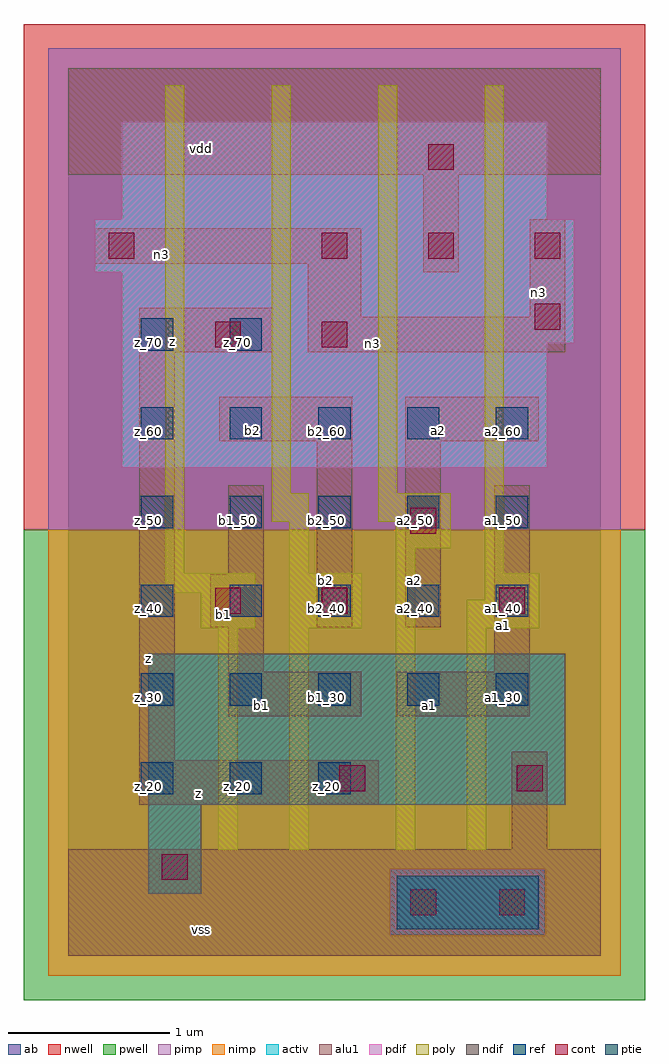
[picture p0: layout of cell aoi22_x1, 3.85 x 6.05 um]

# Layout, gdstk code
import gdstk
lib = gdstk.Library(unit=1e-6, precision=2.5e-09)
def R(c, l, rs):  # rectangles x0, y0, x1, y1
    for r in rs: c.add(gdstk.rectangle(r[:2], r[2:], *l))
def A(c, l, x, y, w, h, nx, ny, dx, dy):  # array of equal rectangles
    R(c, l, [(x+i*dx, y+j*dy, x+i*dx+w, y+j*dy+h) for i in range(nx) for j in range(ny)])
ndif = (3, 0)
pdif = (4, 0)
ptie = (6, 0)
ref = (24, 0)
cont = (25, 0)
pwell = (41, 0)
nwell = (42, 0)
activ = (43, 0)
pimp = (44, 0)
nimp = (45, 0)
poly = (46, 0)
alu1 = (49, 0)
ab = (63, 0)

aoi22_x1 = lib.new_cell('aoi22_x1')
R(aoi22_x1, ndif, [(0.495,0.385,0.825,0.935), (0.495,0.935,3.08,1.87)])
R(aoi22_x1, pdif, [(0.33,3.025,2.97,3.795), (0.33,3.795,3.135,4.235), (0.165,4.235,3.135,4.565), (0.33,4.565,2.97,5.17)])
R(aoi22_x1, ptie, [(2.035,0.165,2.915,0.495)])
A(aoi22_x1, ref, 0.45, 1, 0.2, 0.2, 3, 1, 0.55, 0)
A(aoi22_x1, ref, 0.45, 1.55, 0.2, 0.2, 5, 4, 0.55, 0.55)
R(aoi22_x1, ref, [(0.45,3.75,0.65,3.95), (1,3.75,1.2,3.95)])
A(aoi22_x1, cont, 1.57, 4.32, 0.16, 0.16, 3, 1, 0.66, 0)
R(aoi22_x1, cont, [(2.12,0.25,2.28,0.41), (2.67,0.25,2.83,0.41), (0.58,0.47,0.74,0.63), (1.68,1.02,1.84,1.18), (2.78,1.02,2.94,1.18), (0.91,2.12,1.07,2.28), (1.57,2.12,1.73,2.28), (2.67,2.12,2.83,2.28), (2.12,2.615,2.28,2.775), (0.91,3.77,1.07,3.93), (1.57,3.77,1.73,3.93), (2.89,3.88,3.05,4.04), (0.25,4.32,0.41,4.48), (2.23,4.87,2.39,5.03)])
R(aoi22_x1, pwell, [(-0.275,-0.275,3.575,2.64)])
R(aoi22_x1, nwell, [(-0.275,2.64,3.575,5.775)])
R(aoi22_x1, activ, [(2.035,0.165,2.915,0.495), (0.495,0.385,0.825,0.935), (0.495,0.935,3.08,1.87), (0.33,3.025,2.97,3.795), (0.33,3.795,3.135,4.235), (0.165,4.235,3.135,4.565), (0.33,4.565,2.97,5.17)])
R(aoi22_x1, pimp, [(1.995,0.125,2.955,0.535), (-0.125,2.64,3.425,5.625)])
R(aoi22_x1, nimp, [(-0.125,-0.125,3.425,0.125), (-0.125,0.125,1.995,0.535), (2.955,0.125,3.425,0.535), (-0.125,0.535,3.425,2.64)])
R(aoi22_x1, poly, [(0.93,0.655,1.05,2.03), (1.37,0.655,1.49,2.03), (2.03,0.655,2.15,2.525), (2.47,0.655,2.59,2.03), (0.82,2.03,1.16,2.25), (1.37,2.03,1.82,2.37), (2.47,2.03,2.92,2.205), (2.58,2.205,2.92,2.37), (0.6,2.25,1.16,2.37), (0.6,2.37,0.72,5.395), (1.37,2.37,1.49,2.69), (2.58,2.37,2.7,5.395), (2.03,2.525,2.37,2.69), (1.26,2.69,1.49,2.865), (1.92,2.69,2.37,2.865), (1.26,2.865,1.38,5.395), (1.92,2.865,2.04,5.395)])
R(aoi22_x1, alu1, [(0,0,3.3,0.66), (2.75,0.66,2.97,1.265), (0.44,0.935,1.925,1.21), (0.44,1.21,0.66,3.74), (0.99,1.485,1.815,1.76), (2.035,1.485,2.86,1.76), (0.99,1.76,1.21,2.035), (2.64,1.76,2.86,2.915), (0.88,2.035,1.21,2.365), (1.54,2.035,1.76,3.19), (2.09,2.035,2.31,3.19), (0.99,2.365,1.21,2.915), (0.935,3.19,1.76,3.465), (2.09,3.19,2.915,3.465), (0.44,3.74,1.265,4.015), (1.485,3.74,3.08,3.96), (1.485,3.96,1.815,4.29), (2.86,3.96,3.08,4.565), (2.2,4.235,2.42,4.84), (0.165,4.29,1.815,4.51), (0,4.84,3.3,5.5)])
R(aoi22_x1, ab, [(0,0,3.3,5.5)])
aoi22_x1.add(gdstk.Label('vss', (0.825,0.165), layer=49, texttype=0))
aoi22_x1.add(gdstk.Label('z', (0.81,1.0025), layer=49, texttype=0))
aoi22_x1.add(gdstk.Label('a1', (2.24,1.5525), layer=49, texttype=0))
aoi22_x1.add(gdstk.Label('b1', (1.195,1.5525), layer=49, texttype=0))
aoi22_x1.add(gdstk.Label('a1', (2.695,2.0475), layer=49, texttype=0))
aoi22_x1.add(gdstk.Label('a2', (2.145,2.3225), layer=49, texttype=0))
aoi22_x1.add(gdstk.Label('a2', (2.295,3.2575), layer=49, texttype=0))
aoi22_x1.add(gdstk.Label('b2', (1.595,2.3225), layer=49, texttype=0))
aoi22_x1.add(gdstk.Label('b1', (0.9625,2.1175), layer=49, texttype=0))
aoi22_x1.add(gdstk.Label('b2', (1.14,3.2575), layer=49, texttype=0))
aoi22_x1.add(gdstk.Label('z', (0.495,1.8425), layer=49, texttype=0))
aoi22_x1.add(gdstk.Label('n3', (1.8825,3.795), layer=49, texttype=0))
aoi22_x1.add(gdstk.Label('n3', (2.915,4.11), layer=49, texttype=0))
aoi22_x1.add(gdstk.Label('z', (0.645,3.8075), layer=49, texttype=0))
aoi22_x1.add(gdstk.Label('n3', (0.5775,4.345), layer=49, texttype=0))
aoi22_x1.add(gdstk.Label('vdd', (0.825,5.005), layer=49, texttype=0))
aoi22_x1.add(gdstk.Label('z_20', (0.5,1.05), layer=24, texttype=0))
aoi22_x1.add(gdstk.Label('z_70', (0.5,3.8), layer=24, texttype=0))
aoi22_x1.add(gdstk.Label('b1_30', (1.05,1.6), layer=24, texttype=0))
aoi22_x1.add(gdstk.Label('a2_40', (2.15,2.15), layer=24, texttype=0))
aoi22_x1.add(gdstk.Label('a2_60', (2.7,3.25), layer=24, texttype=0))
aoi22_x1.add(gdstk.Label('a1_30', (2.15,1.6), layer=24, texttype=0))
aoi22_x1.add(gdstk.Label('a1_30', (2.7,1.6), layer=24, texttype=0))
aoi22_x1.add(gdstk.Label('a1_50', (2.7,2.7), layer=24, texttype=0))
aoi22_x1.add(gdstk.Label('a1_40', (2.7,2.15), layer=24, texttype=0))
aoi22_x1.add(gdstk.Label('a2_50', (2.15,2.7), layer=24, texttype=0))
aoi22_x1.add(gdstk.Label('a2_60', (2.15,3.25), layer=24, texttype=0))
aoi22_x1.add(gdstk.Label('b2_40', (1.6,2.15), layer=24, texttype=0))
aoi22_x1.add(gdstk.Label('b2_50', (1.6,2.7), layer=24, texttype=0))
aoi22_x1.add(gdstk.Label('b2_60', (1.05,3.25), layer=24, texttype=0))
aoi22_x1.add(gdstk.Label('b1_30', (1.6,1.6), layer=24, texttype=0))
aoi22_x1.add(gdstk.Label('b1_40', (1.05,2.15), layer=24, texttype=0))
aoi22_x1.add(gdstk.Label('b1_50', (1.05,2.7), layer=24, texttype=0))
aoi22_x1.add(gdstk.Label('z_70', (1.05,3.8), layer=24, texttype=0))
aoi22_x1.add(gdstk.Label('z_20', (1.05,1.05), layer=24, texttype=0))
aoi22_x1.add(gdstk.Label('z_30', (0.5,1.6), layer=24, texttype=0))
aoi22_x1.add(gdstk.Label('z_20', (1.6,1.05), layer=24, texttype=0))
aoi22_x1.add(gdstk.Label('z_60', (0.5,3.25), layer=24, texttype=0))
aoi22_x1.add(gdstk.Label('z_50', (0.5,2.7), layer=24, texttype=0))
aoi22_x1.add(gdstk.Label('z_40', (0.5,2.15), layer=24, texttype=0))
aoi22_x1.add(gdstk.Label('b2_60', (1.6,3.25), layer=24, texttype=0))

lib.write_gds('aoi22_x1.gds')
